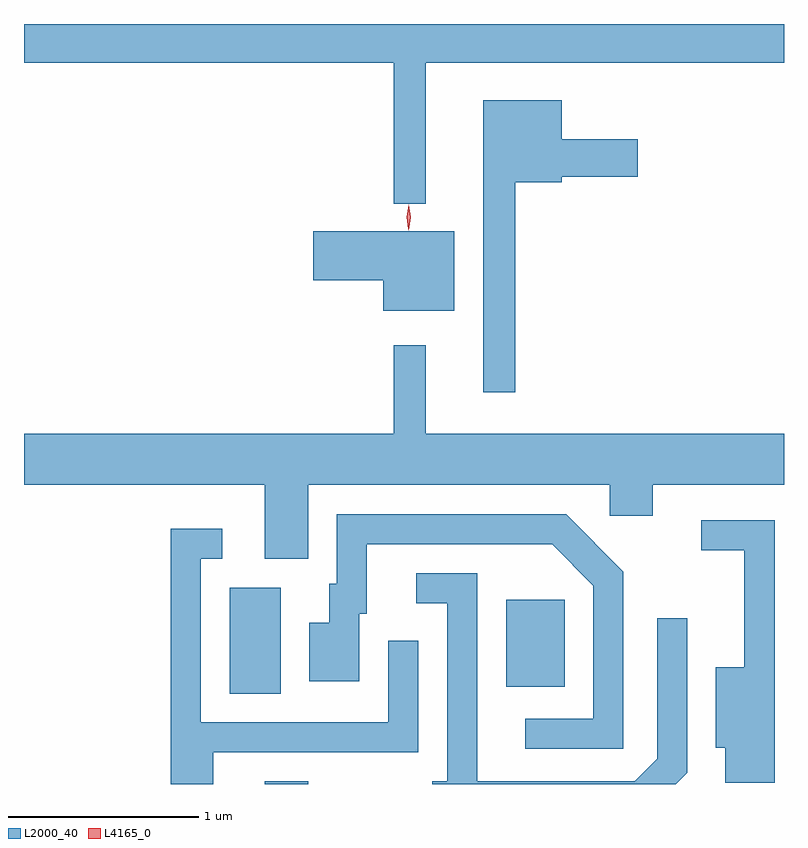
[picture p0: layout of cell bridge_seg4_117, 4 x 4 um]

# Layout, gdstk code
import gdstk
lib = gdstk.Library(unit=1e-6, precision=1e-09)
def R(c, l, rs):  # rectangles x0, y0, x1, y1
    for r in rs: c.add(gdstk.rectangle(r[:2], r[2:], *l))
def P(c, l, *ps):  # polygons
    for p in ps: c.add(gdstk.Polygon(p, *l))
L2000_40 = (2000, 40)
L4165_0 = (4165, 0)

bridge_seg4_117 = lib.new_cell('bridge_seg4_117')
R(bridge_seg4_117, L2000_40, [(797.421,1368.64,797.649,1368.654), (797.236,1369.116,797.504,1369.674), (798.691,1369.151,798.999,1369.609)])
P(bridge_seg4_117, L2000_40, [(798.269,1372.436),(800.154,1372.436),(800.154,1372.64),(796.154,1372.64),(796.154,1372.436),(798.101,1372.436),(798.101,1371.693),(798.269,1371.693)],
  [(798.739,1371.806),(798.984,1371.806),(798.984,1371.836),(799.384,1371.836),(799.384,1372.034),(798.984,1372.034),(798.984,1372.239),(798.571,1372.239),(798.571,1370.703),(798.739,1370.703)],
  [(798.419,1371.549),(797.676,1371.549),(797.676,1371.291),(798.046,1371.291),(798.046,1371.131),(798.419,1371.131)],
  [(797.649,1370.216),(799.236,1370.216),(799.236,1370.051),(799.464,1370.051),(799.464,1370.216),(800.154,1370.216),(800.154,1370.484),(798.269,1370.484),(798.269,1370.948),(798.101,1370.948),(798.101,1370.484),(796.154,1370.484),(796.154,1370.216),(797.421,1370.216),(797.421,1369.826),(797.649,1369.826)],
  [(799.309,1369.757),(799.007,1370.059),(797.801,1370.059),(797.801,1369.694),(797.761,1369.694),(797.761,1369.489),(797.656,1369.489),(797.656,1369.181),(797.919,1369.181),(797.919,1369.536),(797.959,1369.536),(797.959,1369.901),(798.934,1369.901),(799.151,1369.684),(799.151,1368.984),(798.793,1368.984),(798.793,1368.826),(799.309,1368.826)],
  [(800.104,1370.029),(799.718,1370.029),(799.718,1369.871),(799.946,1369.871),(799.946,1369.254),(799.796,1369.254),(799.796,1368.831),(799.846,1368.831),(799.846,1368.646),(800.104,1368.646)],
  [(797.149,1368.806),(798.229,1368.806),(798.229,1369.393),(798.071,1369.393),(798.071,1368.964),(797.084,1368.964),(797.084,1369.826),(797.198,1369.826),(797.198,1369.984),(796.926,1369.984),(796.926,1368.64),(797.149,1368.64)],
  [(799.644,1368.699),(799.644,1369.513),(799.486,1369.513),(799.486,1368.772),(799.369,1368.654),(798.539,1368.654),(798.539,1369.749),(798.218,1369.749),(798.218,1369.591),(798.381,1369.591),(798.381,1368.654),(798.303,1368.654),(798.303,1368.64),(799.585,1368.64)])
P(bridge_seg4_117, L4165_0, [(798.178,1371.554),(798.178,1371.554),(798.169,1371.622),(798.179,1371.69),(798.18,1371.69),(798.18,1371.69),(798.189,1371.622),(798.179,1371.554)],
  [(798.178,1371.56),(798.177,1371.561),(798.169,1371.624),(798.179,1371.686),(798.18,1371.687),(798.18,1371.686),(798.189,1371.623),(798.178,1371.561)])

lib.write_gds('bridge_seg4_117.gds')
